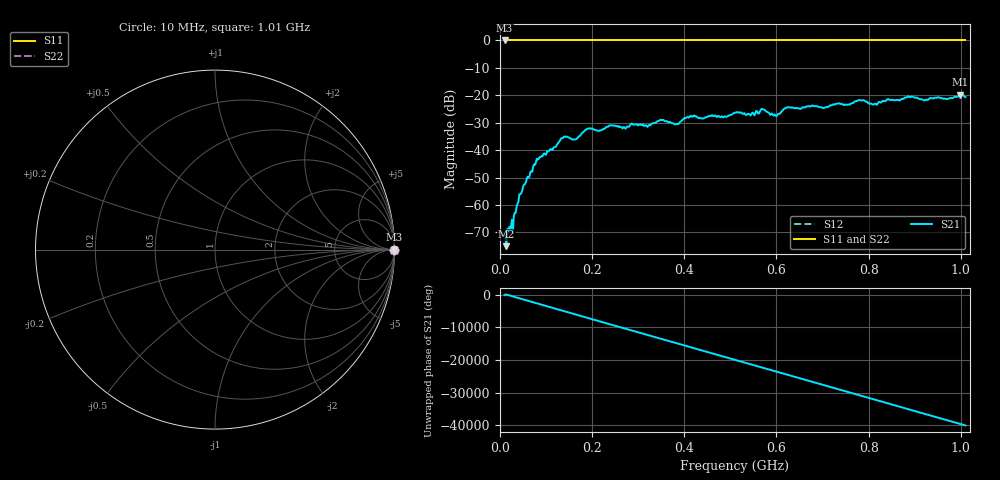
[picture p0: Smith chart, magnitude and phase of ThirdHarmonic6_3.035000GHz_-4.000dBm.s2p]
! 8/17/2025 8:46:18 AM
! C:\ANRITSUVNA\TEMP\TEMP.S2P
! CHANNEL.1
! TR.MEASUREMENT
! RAW.DATA
! RF.CORRECTION.OFF
! AVERAGING.OFF
! IF.BANDWIDTH: 5KHZ
! SWEEPTYPE:  FREQ.SWEEP(Linear)
! Reference Plane Port Info
! PORT:  PORT1  PORT2
! DISTANCE:  0  m  0  m
! TIME:  0  s  0  s
! PHASE.OFFSET:  0  deg.  0  deg.
! LOSS:  0  dB  0  dB
! REF.LOSS:  0  dB  0  dB
! REF.FREQ:  0  Hz  0  Hz
! Power Info
! POWER:  -20  dBm  -20  dBm
! EFF.POWER:  -20  dBm  -20  dBm
! SOURCE.ATTEN:  0  dB  0  dB
! TEST.ATTEN:  0  dB  0  dB
# GHZ S RI R 50.0
! FREQ.GHZ  S11RE  S11IM  S21RE  S21IM  S12RE  S12IM  S22RE  S22IM
!; PortSelection: Port_12
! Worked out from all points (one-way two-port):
!   501 points, 10 MHz to 1.01 GHz, reference 50 ohm
!   highest |S21| = -19.81 dB at 998 MHz (marker M1); lowest = -75.1 dB at 14 MHz (marker M2)
!   lowest |S11| = 0.0 dB at 10 MHz (marker M3)
!   |S11| at or under -10 dB: nowhere
!   |S22| runs from 0.0 to 0.0 dB; largest |S21 - S12| = 1.1
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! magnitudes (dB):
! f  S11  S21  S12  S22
! 10 MHz  0.0  -70.8  0.0  0.0
! 14 MHz  0.0  -75.1  0.0  0.0
! 26 MHz  0.0  -65.4  0.0  0.0
! 46 MHz  0.0  -55.7  0.0  0.0
! 82 MHz  0.0  -43.4  0.0  0.0
! 136 MHz  0.0  -35.6  0.0  0.0
! 162 MHz  0.0  -36.1  0.0  0.0
! 178 MHz  0.0  -33.8  0.0  0.0
! 192 MHz  0.0  -32.1  0.0  0.0
! 322 MHz  0.0  -31.1  0.0  0.0
! 344 MHz  0.0  -29.4  0.0  0.0
! 384 MHz  0.0  -30.4  0.0  0.0
! 416 MHz  0.0  -27.8  0.0  0.0
! 510 MHz  0.0  -26.3  0.0  0.0
! 570 MHz  0.0  -25.1  0.0  0.0
! 598 MHz  0.0  -27.4  0.0  0.0
! 624 MHz  0.0  -24.4  0.0  0.0
! 678 MHz  0.0  -23.7  0.0  0.0
! 814 MHz  0.0  -23.1  0.0  0.0
! 844 MHz  0.0  -21.6  0.0  0.0
! 998 MHz  0.0  -19.8  0.0  0.0
! 1.01 GHz  0.0  -20.6  0.0  0.0
